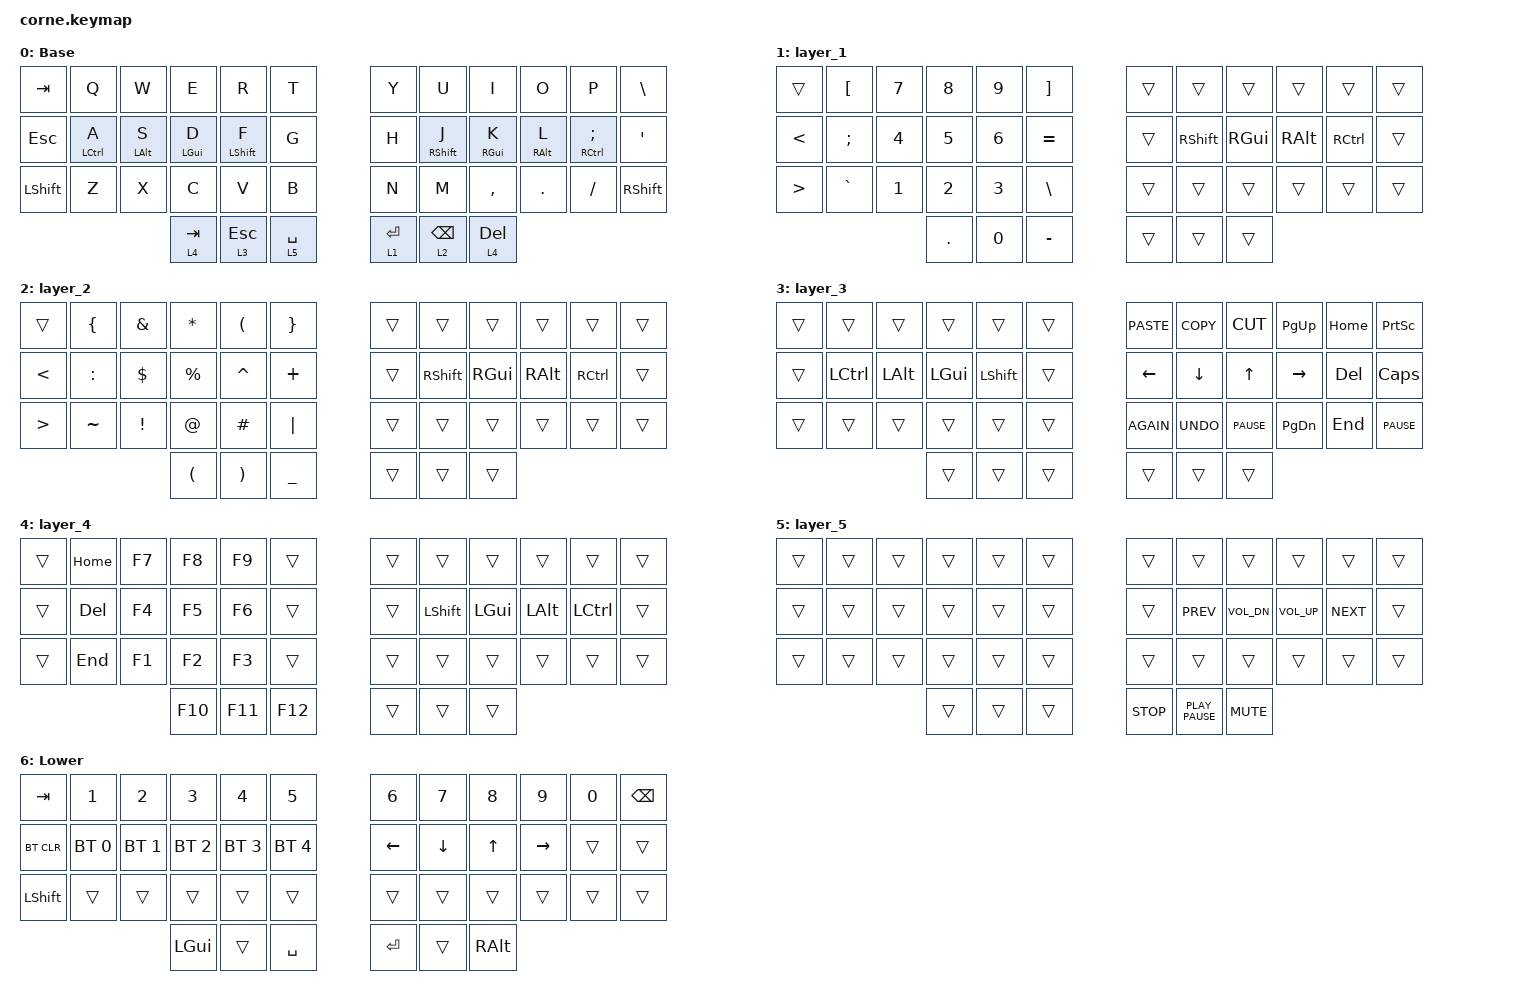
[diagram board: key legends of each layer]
/*
 * Copyright (c) 2020 The ZMK Contributors
 *
 * SPDX-License-Identifier: MIT
 */

#include <behaviors.dtsi>
#include <dt-bindings/zmk/bt.h>
#include <dt-bindings/zmk/keys.h>

/ {
    behaviors {
        HMR: HMR {
            compatible = "zmk,behavior-hold-tap";
            label = "HMR";
            bindings = <&kp>, <&kp>;

            #binding-cells = <2>;
            tapping-term-ms = <280>;
            quick-tap-ms = <175>;
            flavor = "balanced";
            hold-trigger-on-release;
            hold-trigger-key-positions = <15 0 12 24 25 13 1 2 14 26 27 36 37 38 3 4 5 17 16 28 29 39 40 41>;
        };

        HML: HML {
            compatible = "zmk,behavior-hold-tap";
            label = "HML";
            bindings = <&kp>, <&kp>;

            #binding-cells = <2>;
            tapping-term-ms = <280>;
            quick-tap-ms = <175>;
            flavor = "balanced";
            hold-trigger-key-positions = <6 10 11 18 19 20 21 22 23 30 31 32 33 34 35 40 41 39 7 8 9 36 37 38>;
            hold-trigger-on-release;
        };
    };

    keymap {
        compatible = "zmk,keymap";

        default_layer {
            // -----------------------------------------------------------------------------------------
            // |  TAB |  Q  |  W  |  E  |  R  |  T  |   |  Y  |  U   |  I  |  O  |  P  | BKSP |
            // | CTRL |  A  |  S  |  D  |  F  |  G  |   |  H  |  J   |  K  |  L  |  ;  |  '   |
            // | SHFT |  Z  |  X  |  C  |  V  |  B  |   |  N  |  M   |  ,  |  .  |  /  | ESC  |
            //                    | GUI | LWR | SPC |   | ENT | RSE  | ALT |

            display-name = "Base";
            bindings = <
&kp TAB     &kp Q                &kp W            &kp E            &kp R              &kp T          &kp Y        &kp U               &kp I             &kp O             &kp P                         &kp BACKSLASH
&kp ESCAPE  &HML LEFT_CONTROL A  &HML LEFT_ALT S  &HML LEFT_GUI D  &HML LEFT_SHIFT F  &kp G          &kp H        &HMR RIGHT_SHIFT J  &HMR RIGHT_GUI K  &HMR RIGHT_ALT L  &HMR RIGHT_CONTROL SEMICOLON  &kp SQT
&kp LSHFT   &kp Z                &kp X            &kp C            &kp V              &kp B          &kp N        &kp M               &kp COMMA         &kp DOT           &kp FSLH                      &kp RIGHT_SHIFT
                                                  &lt 4 TAB        &lt 3 ESCAPE       &lt 5 SPACE    &lt 1 ENTER  &lt 2 BACKSPACE     &lt 4 DEL
            >;
        };

        layer_1 {
            bindings = <
&trans            &kp LEFT_BRACKET  &kp N7  &kp N8   &kp N9  &kp RIGHT_BRACKET    &trans  &trans     &trans    &trans    &trans     &trans
&kp LESS_THAN     &kp SEMI          &kp N4  &kp N5   &kp N6  &kp EQUAL            &trans  &kp RSHFT  &kp RGUI  &kp RALT  &kp RCTRL  &trans
&kp GREATER_THAN  &kp GRAVE         &kp N1  &kp N2   &kp N3  &kp BSLH             &trans  &trans     &trans    &trans    &trans     &trans
                                            &kp DOT  &kp N0  &kp MINUS            &trans  &trans     &trans
            >;
        };

        layer_2 {
            bindings = <
&trans            &kp LEFT_BRACE  &kp AMPERSAND  &kp STAR              &kp LEFT_PARENTHESIS   &kp RIGHT_BRACE    &trans  &trans     &trans    &trans    &trans     &trans
&kp LESS_THAN     &kp COLON       &kp DOLLAR     &kp PERCENT           &kp CARET              &kp PLUS           &trans  &kp RSHFT  &kp RGUI  &kp RALT  &kp RCTRL  &trans
&kp GREATER_THAN  &kp TILDE       &kp EXCL       &kp AT                &kp HASH               &kp PIPE           &trans  &trans     &trans    &trans    &trans     &trans
                                                 &kp LEFT_PARENTHESIS  &kp RIGHT_PARENTHESIS  &kp UNDER          &trans  &trans     &trans
            >;
        };

        layer_3 {
            bindings = <
&trans  &trans     &trans    &trans    &trans     &trans    &kp K_PASTE     &kp K_COPY      &kp K_CUT     &kp PAGE_UP      &kp HOME  &kp PRINTSCREEN
&trans  &kp LCTRL  &kp LALT  &kp LGUI  &kp LSHFT  &trans    &kp LEFT_ARROW  &kp DOWN_ARROW  &kp UP_ARROW  &kp RIGHT_ARROW  &kp DEL   &kp CAPSLOCK
&trans  &trans     &trans    &trans    &trans     &trans    &kp K_AGAIN     &kp K_UNDO      &kp C_PAUSE   &kp PAGE_DOWN    &kp END   &kp C_PAUSE
                             &trans    &trans     &trans    &trans          &trans          &trans
            >;
        };

        layer_4 {
            bindings = <
&trans  &kp HOME  &kp F7  &kp F8   &kp F9   &trans     &trans  &trans     &trans    &trans    &trans     &trans
&trans  &kp DEL   &kp F4  &kp F5   &kp F6   &trans     &trans  &kp LSHFT  &kp LGUI  &kp LALT  &kp LCTRL  &trans
&trans  &kp END   &kp F1  &kp F2   &kp F3   &trans     &trans  &trans     &trans    &trans    &trans     &trans
                          &kp F10  &kp F11  &kp F12    &trans  &trans     &trans
            >;
        };

        layer_5 {
            bindings = <
&trans  &trans  &trans  &trans  &trans  &trans    &trans      &trans            &trans        &trans           &trans      &trans
&trans  &trans  &trans  &trans  &trans  &trans    &trans      &kp K_PREV        &kp C_VOL_DN  &kp C_VOLUME_UP  &kp K_NEXT  &trans
&trans  &trans  &trans  &trans  &trans  &trans    &trans      &trans            &trans        &trans           &trans      &trans
                        &trans  &trans  &trans    &kp K_STOP  &kp K_PLAY_PAUSE  &kp K_MUTE
            >;
        };

        lower_layer {
            // -----------------------------------------------------------------------------------------
            // |  TAB |  1  |  2  |  3  |  4  |  5  |   |  6  |  7  |  8  |  9  |  0  | BKSP |
            // | BTCLR| BT1 | BT2 | BT3 | BT4 | BT5 |   | LFT | DWN |  UP | RGT |     |      |
            // | SHFT |     |     |     |     |     |   |     |     |     |     |     |      |
            //                    | GUI |     | SPC |   | ENT |     | ALT |

            display-name = "Lower";
            bindings = <
&kp TAB     &kp N1        &kp N2        &kp N3        &kp N4        &kp N5          &kp N6    &kp N7    &kp N8    &kp N9     &kp N0  &kp BSPC
&bt BT_CLR  &bt BT_SEL 0  &bt BT_SEL 1  &bt BT_SEL 2  &bt BT_SEL 3  &bt BT_SEL 4    &kp LEFT  &kp DOWN  &kp UP    &kp RIGHT  &trans  &trans
&kp LSHFT   &trans        &trans        &trans        &trans        &trans          &trans    &trans    &trans    &trans     &trans  &trans
                                        &kp LGUI      &trans        &kp SPACE       &kp RET   &trans    &kp RALT
            >;
        };
    };
};
